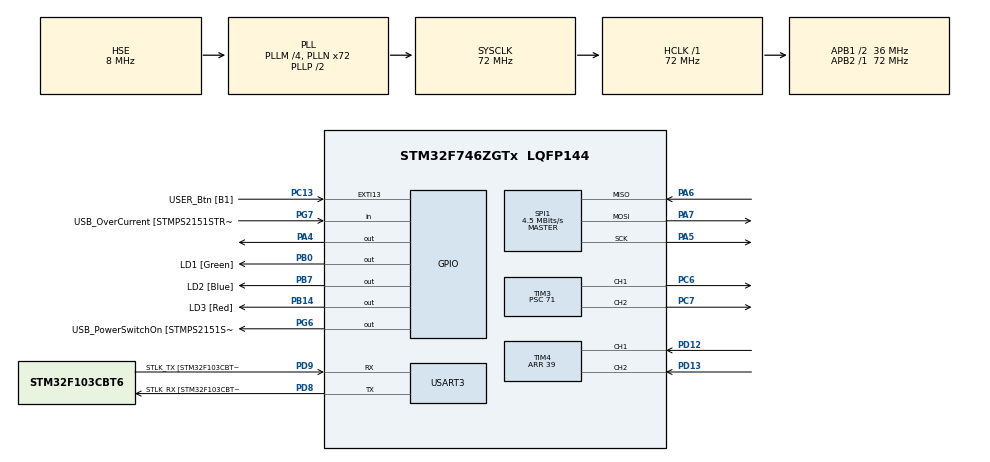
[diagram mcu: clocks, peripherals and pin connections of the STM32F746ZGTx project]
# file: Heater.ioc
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Mcu.Family=STM32F7
Mcu.Name=STM32F746ZGTx
Mcu.Package=LQFP144
NVIC.EXTI15_10_IRQn=true\:0\:0\:false\:false\:true\:true\:true\:true
NVIC.PriorityGroup=NVIC_PRIORITYGROUP_4
NVIC.TIM3_IRQn=true\:0\:0\:false\:false\:true\:true\:true\:true
NVIC.USART3_IRQn=true\:0\:0\:false\:false\:true\:true\:true\:true
PA1.GPIO_Label=RMII_REF_CLK [LAN8742A-CZ-TR_REFCLK0]
PA1.Signal=ETH_REF_CLK
PA10.GPIO_Label=USB_ID
PA10.Signal=USB_OTG_FS_ID
PA11.GPIO_Label=USB_DM
PA11.Signal=USB_OTG_FS_DM
PA12.GPIO_Label=USB_DP
PA12.Signal=USB_OTG_FS_DP
PA13.GPIO_Label=TMS
PA13.Mode=Serial_Wire
PA13.Signal=SYS_JTMS-SWDIO
PA14.GPIO_Label=TCK
PA14.Mode=Serial_Wire
PA14.Signal=SYS_JTCK-SWCLK
PA2.GPIO_Label=RMII_MDIO [LAN8742A-CZ-TR_MDIO]
PA2.Signal=ETH_MDIO
PA4.Signal=GPIO_Output
PA5.Mode=Full_Duplex_Master
PA5.Signal=SPI1_SCK
PA6.Mode=Full_Duplex_Master
PA6.Signal=SPI1_MISO
PA7.Mode=Full_Duplex_Master
PA7.Signal=SPI1_MOSI
PA8.GPIO_Label=USB_SOF [TP1]
PA8.Signal=USB_OTG_FS_SOF
PA9.GPIO_Label=USB_VBUS
PA9.Signal=USB_OTG_FS_VBUS
PB0.GPIO_Label=LD1 [Green]
PB0.Signal=GPIO_Output
PB13.GPIO_Label=RMII_TXD1 [LAN8742A-CZ-TR_TXD1]
PB13.Signal=ETH_TXD1
PB14.GPIO_Label=LD3 [Red]
PB14.Signal=GPIO_Output
PB3.GPIO_Label=SW0
PB3.Signal=SYS_JTDO-SWO
PB7.GPIO_Label=LD2 [Blue]
PB7.Signal=GPIO_Output
PC1.GPIO_Label=RMII_MDC [LAN8742A-CZ-TR_MDC]
PC1.Signal=ETH_MDC
PC13.GPIO_Label=USER_Btn [B1]
PC13.Signal=GPXTI13
PC14/OSC32_IN.Mode=LSE-External-Oscillator
PC14/OSC32_IN.Signal=RCC_OSC32_IN
PC15/OSC32_OUT.Mode=LSE-External-Oscillator
PC15/OSC32_OUT.Signal=RCC_OSC32_OUT
PC4.GPIO_Label=RMII_RXD0 [LAN8742A-CZ-TR_RXD0]
PC4.Signal=ETH_RXD0
PC5.GPIO_Label=RMII_RXD1 [LAN8742A-CZ-TR_RXD1]
PC5.Signal=ETH_RXD1
PC6.Signal=S_TIM3_CH1
PC7.Signal=S_TIM3_CH2
PD12.Signal=S_TIM4_CH1
PD13.Signal=S_TIM4_CH2
PD8.GPIO_Label=STLK_RX [STM32F103CBT6_PA3]
PD8.GPIO_PuPd=GPIO_PULLUP
PD8.Mode=Asynchronous
PD8.Signal=USART3_TX
PD9.GPIO_Label=STLK_TX [STM32F103CBT6_PA2]
PD9.GPIO_PuPd=GPIO_PULLUP
PD9.Mode=Asynchronous
PD9.Signal=USART3_RX
PG11.GPIO_Label=RMII_TX_EN [LAN8742A-CZ-TR_TXEN]
PG11.Signal=ETH_TX_EN
PG13.GPIO_Label=RMII_TXD0 [LAN8742A-CZ-TR_TXD0]
PG13.Signal=ETH_TXD0
PG6.GPIO_Label=USB_PowerSwitchOn [STMPS2151STR_EN]
PG6.Signal=GPIO_Output
PG7.GPIO_Label=USB_OverCurrent [STMPS2151STR_FAULT]
PG7.Signal=GPIO_Input
PH0/OSC_IN.GPIO_Label=MCO [STM32F103CBT6_PA8]
PH0/OSC_IN.Mode=HSE-External-Clock-Source
PH0/OSC_IN.Signal=RCC_OSC_IN
PH1/OSC_OUT.Mode=HSE-External-Clock-Source
PH1/OSC_OUT.Signal=RCC_OSC_OUT
ProjectManager.HeapSize=0x200
ProjectManager.StackSize=0x400
ProjectManager.TargetToolchain=STM32CubeIDE
RCC.48MHZClocksFreq_Value=24000000
RCC.AHBFreq_Value=72000000
RCC.APB1CLKDivider=RCC_HCLK_DIV2
RCC.APB1Freq_Value=36000000
RCC.APB1TimFreq_Value=72000000
RCC.APB2Freq_Value=72000000
RCC.APB2TimFreq_Value=72000000
RCC.CortexFreq_Value=72000000
RCC.HCLKFreq_Value=72000000
RCC.HSE_VALUE=8000000
RCC.HSI_VALUE=16000000
RCC.PLLM=4
RCC.PLLMUL=RCC_PLL_MUL9
RCC.PLLN=72
RCC.PLLQ=3
RCC.PLLSourceVirtual=RCC_PLLSOURCE_HSE
RCC.PRESCALERUSB=RCC_USBCLKSOURCE_PLL_DIV1_5
RCC.SYSCLKFreq_VALUE=72000000
RCC.SYSCLKSource=RCC_SYSCLKSOURCE_PLLCLK
RCC.SYSCLKSourceVirtual=RCC_SYSCLKSOURCE_PLLCLK
RCC.USBFreq_Value=48000000
RCC.VCOOutputFreq_Value=144000000
SH.S_TIM3_CH1.0=TIM3_CH1,PWM Generation1 CH1
SH.S_TIM3_CH2.0=TIM3_CH2,PWM Generation2 CH2
SH.S_TIM4_CH1.0=TIM4_CH1,Encoder_Interface
SH.S_TIM4_CH2.0=TIM4_CH2,Encoder_Interface
SPI1.BaudRatePrescaler=SPI_BAUDRATEPRESCALER_16
SPI1.CalculateBaudRate=4.5 MBits/s
SPI1.DataSize=SPI_DATASIZE_8BIT
SPI1.Direction=SPI_DIRECTION_2LINES
SPI1.Mode=SPI_MODE_MASTER
SPI1.VirtualType=VM_MASTER
TIM3.Channel-PWM\ Generation1\ CH1=TIM_CHANNEL_1
TIM3.Channel-PWM\ Generation2\ CH2=TIM_CHANNEL_2
TIM3.Period=9999
TIM3.Prescaler=71
TIM3.Pulse-PWM\ Generation1\ CH1=9999
TIM3.Pulse-PWM\ Generation2\ CH2=0
TIM4.Period=39
USART3.VirtualMode-Asynchronous=VM_ASYNC
VP_TIM3_VS_ClockSourceINT.Mode=Internal
board=NUCLEO-F746ZG

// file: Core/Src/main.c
/* USER CODE BEGIN Header */
/**
  ******************************************************************************
  * @file           : main.c
  * @brief          : Main program body
  ******************************************************************************
  * @attention
  *
  * Copyright (c) 2022 STMicroelectronics.
  * All rights reserved.
  *
  * This software is licensed under terms that can be found in the LICENSE file
  * in the root directory of this software component.
  * If no LICENSE file comes with this software, it is provided AS-IS.
  *
  ******************************************************************************
  */
/* USER CODE END Header */
#include "main.h"
#include "spi.h"
#include "tim.h"
#include "usart.h"
#include "gpio.h"

/* USER CODE BEGIN Includes */
#include <stdio.h>
#include <string.h>
#include "BMPXX80.h"
#include <stdlib.h>
#include <math.h>
//#include "heater_config.c"
//#include "bmp2_config.c"
//#include "btn_config.c"
//#include "pwm.c"
/* USER CODE END Includes */

/* USER CODE BEGIN PD */
#define UART_BUFFER_SIZE 4
/* USER CODE END PD */

/* USER CODE BEGIN PV */
float err = 0.0f;
int duty = 0;
float temp = 0.0f;
float temp_zad = 38.0f;
float Ts = 0.01f;
float wyjscie = 0.0f;
float integrator = 0.0f;
float Kp = 5000.0f;
float Ki = 400.0f;
int licznik_wiadomosc = 0;
int licznik = 0;
char uart_buffer[UART_BUFFER_SIZE];
/* USER CODE END PV */

void SystemClock_Config(void);

/* USER CODE BEGIN 0 */

void HAL_UART_RxCpltCallback(UART_HandleTypeDef *huart)
{
  if(huart->Instance == USART3){
	  size_t len = strlen(uart_buffer);
		// Używamy strtof (string to float) do konwersji na zmienną typu float
		char *endptr;
		temp_zad = strtof(uart_buffer, &endptr);

		memset(uart_buffer, 0, sizeof(uart_buffer));
      // Ponowne uruchomienie odbioru przez USART w trybie przerwań
		HAL_UART_Receive_IT(&huart3, (uint8_t*)uart_buffer, UART_BUFFER_SIZE);
  }
}

/* USER CODE END 0 */

int main(void)
{

  /* MCU Configuration--------------------------------------------------------*/

  /* Reset of all peripherals, Initializes the Flash interface and the Systick. */
 HAL_Init();

  /* Configure the system clock */
  SystemClock_Config();

  /* Initialize all configured peripherals */
  MX_GPIO_Init();
  MX_USART3_UART_Init();
  MX_TIM3_Init();
  MX_SPI1_Init();
  MX_TIM4_Init();
  /* USER CODE BEGIN 2 */
  BMP280_Init(&hspi1, BMP280_TEMPERATURE_16BIT, BMP280_STANDARD, BMP280_FORCEDMODE);
  HAL_TIM_PWM_Start(&htim3, TIM_CHANNEL_1);
  HAL_TIM_PWM_Start(&htim3, TIM_CHANNEL_2);
  HAL_TIM_Encoder_Start(&htim4, TIM_CHANNEL_ALL);
  HAL_UART_Receive_IT(&huart3, (uint8_t*)uart_buffer, UART_BUFFER_SIZE);
  /* USER CODE END 2 */

  /* Infinite loop */
  /* USER CODE BEGIN WHILE */
  while (1)
  {
	//
	// Odczyt z enkodera
	//
	licznik = __HAL_TIM_GET_COUNTER(&htim4);
	//
	//Ustawienie zaklocenia
	//
	__HAL_TIM_SET_COMPARE(&htim3, TIM_CHANNEL_2,ceil(licznik*256.4));
	//
	// Pomiar temperatury
	//
    temp = BMP280_ReadTemperature();
    //
    // Zabezpieczenie przed zbyt duza temperatura zadana
    //
    if (temp_zad > 65){ //
    	temp_zad = 65.0f;
    } else if (temp_zad < 20) {
    	temp_zad = 20.0f;
    }
    //
    // Regulator
    //
    err = temp_zad - temp; // uchyb
    if(abs(err) > 4){
    integrator = 0;
    } else{
    integrator += err; // integrator
    }
    //anty wind-up
    if (integrator > 2299){
            integrator = 2300;
    } else if (integrator < -2299){
            integrator = -2300;
    }
    // Obliczenie wyjscia
    wyjscie = Kp * err + Ki * Ts * integrator;
    // Obliczanie na podstawie wyjscia odpowiedzi PWM
    if(wyjscie > 9999){
    	duty = 9999;
    }
    if(wyjscie < 0){
        duty = 0;
    }
    if(wyjscie >= 0 && wyjscie <= 9999){
    	duty = ceil(wyjscie);
    }
    // Ustawianie okresu PWM
    __HAL_TIM_SET_COMPARE(&htim3, TIM_CHANNEL_1,duty);
    //
    // Wysyanie wiadomości UART
    // Ograniczenie do predkosci wysylania do 50ms - ograniczenie node-red
    //
    licznik_wiadomosc++;
    if (licznik_wiadomosc >= 5){
    	licznik_wiadomosc = 0;
		const char msg[150] = { 0, };
		int msg_len = sprintf(msg, "Wypelnienie=%d.%02d;Pomiar_temperatury=%d.%03d;Temperatura_zadana=%d.%02d;Poziom_zaklocenia=%d\r\n",
				(int)(duty*0.01),(int)(duty%100), (int)temp, (int)(1000.0f*temp)%1000, (int)temp_zad, (int)(100.0f*temp_zad)%100, (int)(ceil(licznik*2.564)));
		HAL_UART_Transmit(&huart3, (uint8_t*)msg, msg_len,HAL_MAX_DELAY);
    }
    HAL_Delay(10);
    /* USER CODE END WHILE */

  }
}

void SystemClock_Config(void)
{
  RCC_OscInitTypeDef RCC_OscInitStruct = {0};
  RCC_ClkInitTypeDef RCC_ClkInitStruct = {0};

  /** Configure LSE Drive Capability
  */
  HAL_PWR_EnableBkUpAccess();

  /** Configure the main internal regulator output voltage
  */
  __HAL_RCC_PWR_CLK_ENABLE();
  __HAL_PWR_VOLTAGESCALING_CONFIG(PWR_REGULATOR_VOLTAGE_SCALE3);

  /** Initializes the RCC Oscillators according to the specified parameters
  * in the RCC_OscInitTypeDef structure.
  */
  RCC_OscInitStruct.OscillatorType = RCC_OSCILLATORTYPE_HSE;
  RCC_OscInitStruct.HSEState = RCC_HSE_BYPASS;
  RCC_OscInitStruct.PLL.PLLState = RCC_PLL_ON;
  RCC_OscInitStruct.PLL.PLLSource = RCC_PLLSOURCE_HSE;
  RCC_OscInitStruct.PLL.PLLM = 4;
  RCC_OscInitStruct.PLL.PLLN = 72;
  RCC_OscInitStruct.PLL.PLLP = RCC_PLLP_DIV2;
  RCC_OscInitStruct.PLL.PLLQ = 3;
  if (HAL_RCC_OscConfig(&RCC_OscInitStruct) != HAL_OK)
  {
    Error_Handler();
  }

  /** Initializes the CPU, AHB and APB buses clocks
  */
  RCC_ClkInitStruct.ClockType = RCC_CLOCKTYPE_HCLK|RCC_CLOCKTYPE_SYSCLK
                              |RCC_CLOCKTYPE_PCLK1|RCC_CLOCKTYPE_PCLK2;
  RCC_ClkInitStruct.SYSCLKSource = RCC_SYSCLKSOURCE_PLLCLK;
  RCC_ClkInitStruct.AHBCLKDivider = RCC_SYSCLK_DIV1;
  RCC_ClkInitStruct.APB1CLKDivider = RCC_HCLK_DIV2;
  RCC_ClkInitStruct.APB2CLKDivider = RCC_HCLK_DIV1;

  if (HAL_RCC_ClockConfig(&RCC_ClkInitStruct, FLASH_LATENCY_2) != HAL_OK)
  {
    Error_Handler();
  }
}

/* USER CODE BEGIN 4 */
//void HAL_TIM_PeriodElapsedCallback(TIM_HandleTypeDef *htim)
//{
//  if (htim == &htim5) {
//    HAL_GPIO_TogglePin(FAN_GPIO_Port, FAN_Pin);
//
//  }
//}
/* USER CODE END 4 */

void Error_Handler(void)
{
  __disable_irq();
  while (1)
  {
  }
}
